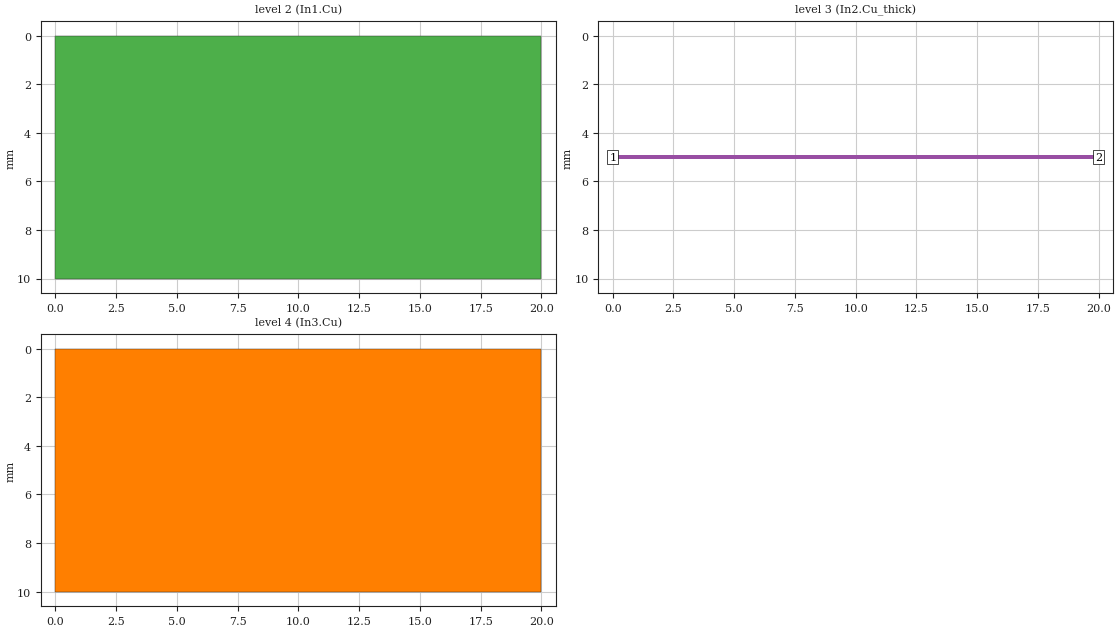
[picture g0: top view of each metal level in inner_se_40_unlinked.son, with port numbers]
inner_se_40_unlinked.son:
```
FTYP SONPROJ 19 ! Sonnet Project File
VER 18.52
HEADER
LIC antikernel2.1.51176
DAT 02/26/2022 12:04:15
BUILT_BY_CREATED xgeom 18.52 11/18/2021 20:28:07
BUILT_BY_SAVED sonnet 18.52
MDATE 02/26/2022 12:04:15
HDATE 02/26/2022 12:04:15
END HEADER
DIM
ANG DEG
CAP PF
CON /OH
FREQ GHZ
IND NH
LNG MM
RES OH
END DIM
CONTROL
VARSWP
OPTIONS  -dj
SPEED 0
CACHE_ABS 2
Q_ACC N
END CONTROL
GEO
SYM
TMET "Free Space" 0 FREESPACE 376.7303136 0 0 0
BMET "Free Space" 0 FREESPACE 376.7303136 0 0 0
MET "Copper_1oz_thin" 1 NOR 58000000 0.5 0.035 
MET "Copper_1oz_thick" 2 TMM 58000000 0.5 0.035 2
MET "Copper_1oz_thick_down" 3 TMM 58000000 0.5 0.035 2 CDVY TDWN
MET "Copper_0.5oz_thin" 4 NOR 58000000 0.5 0.017 
MET "Copper_0.5oz_thick" 12 TMM 58000000 0.5 0.017 2
MET "Copper_0.5oz_thick_down" 5 TMM 58000000 0.5 0.017 2 CDVY TDWN
BOX 10 20 10 4000 2000 20 0
      5 1 1 0 0 0 0 "Air"
      0.04 3.5 1 0.025 0 0 0 "Soldermask"
      0.075 3.9 1 0.008 0 0 0 "TU-872_SLK"
      0.1 3.9 1 0.008 0 0 0 "TU-872_SLK"
      0.143 3.9 1 0.008 0 0 0 "TU-872_SLK"
      0.7 4.49 1 0.016 0 0 0 "Shengyi_S1000-2M"
      0.143 3.9 1 0.008 0 0 0 "TU-872_SLK"
      0.1 3.9 1 0.008 0 0 0 "TU-872_SLK"
      0.075 3.9 1 0.008 0 0 0 "TU-872_SLK"
      0.04 3.5 1 0.025 0 0 0 "Soldermask"
      5 1 1 0 0 0 0 "Air"
TECHLAY METAL F.Cu_thin <UNSPECIFIED> -1 0 CAD F.Cu_thin drawing 
1 0 0 N 179 1 1 100 100 0 0 0 Y
END
END
TECHLAY METAL F.Cu_thick <UNSPECIFIED> -2 0 CAD F.Cu_thick drawing 
1 0 1 N 181 1 1 100 100 0 0 0 Y
END
END
TECHLAY VIA Via1 <UNSPECIFIED> -13 0 CAD Via1 drawing 
VIA POLYGON
1 0 -1 N 183 1 1 100 100 0 0 0 Y
TOLEVEL 8 RING NOCOVERS
END
END
TECHLAY METAL In1.Cu <UNSPECIFIED> -3 0 CAD In1.Cu drawing 
2 0 0 N 186 1 1 100 100 0 0 0 Y
END
END
TECHLAY METAL In2.Cu_thin <UNSPECIFIED> -4 0 CAD In2.Cu drawing 
3 0 3 N 189 1 1 100 100 0 0 0 Y
END
END
TECHLAY METAL In2.Cu_thick <UNSPECIFIED> -5 0 CAD In2.Cu_thick drawing 
3 0 4 N 191 1 1 100 100 0 0 0 Y
END
END
TECHLAY METAL In3.Cu <UNSPECIFIED> -6 0 CAD In3.Cu drawing 
4 0 0 N 196 1 1 100 100 0 0 0 Y
END
END
TECHLAY METAL In4.Cu <UNSPECIFIED> -7 0 CAD In4.Cu drawing 
5 0 0 N 201 1 1 100 100 0 0 0 Y
END
END
TECHLAY METAL In5.Cu_thin <UNSPECIFIED> -8 0 CAD In5.Cu drawing 
6 0 3 N 204 1 1 100 100 0 0 0 Y
END
END
TECHLAY METAL In5.Cu_thick <UNSPECIFIED> -9 0 CAD In5.Cu_thick drawing 
6 0 5 N 206 1 1 100 100 0 0 0 Y
END
END
TECHLAY METAL In6.Cu <UNSPECIFIED> -10 0 CAD In6.Cu drawing 
7 0 0 N 209 1 1 100 100 0 0 0 Y
END
END
TECHLAY METAL B.Cu_thin <UNSPECIFIED> -11 0 CAD B.Cu_thin drawing 
8 0 0 N 212 1 1 100 100 0 0 0 Y
END
END
TECHLAY METAL B.Cu_thick <UNSPECIFIED> -12 0 CAD B.Cu_thick drawing 
8 0 2 N 214 1 1 100 100 0 0 0 Y
END
END
VALVAR WIDTH LNG 0.165 "Dim. Param."
VALVAR CORE_ER NONE "table1(\"core_er.csv\",FREQ)" "Variable set in material file"
VALVAR CORE_DF NONE "table1(\"core_df.csv\",FREQ)" "Variable set in material file"
VALVAR PREPREG_DF NONE "table1(\"prepreg_df.csv\",FREQ)" "Variable set in material file"
VALVAR PREPREG_ER NONE "table1(\"prepreg_er.csv\",FREQ)" "Variable set in material file"
LORGN 0 10 U 
POR1 BOX
POLY 104 1
3
1 40 0 0 0 0 5 
POR1 BOX
POLY 104 1
1
2 40 0 0 0 20 5 
NUM 3
2 5 0 N 103 1 1 100 100 0 0 0 Y
TLAYNAM In1.Cu INH
0 0
20 0
20 10
0 10
0 0
END
3 5 4 N 104 1 1 100 100 0 0 0 Y
TLAYNAM In2.Cu_thick INH
0 4.9175
20 4.9175
20 5.0825
0 5.0825
0 4.9175
END
4 5 0 N 163 1 1 100 100 0 0 0 Y
TLAYNAM In3.Cu INH
0 0
20 0
20 10
0 10
0 0
END
END GEO
OPT
MAX 100
END OPT
VARSWP
ENABLED Y
FREQ Y AY ABS_ENTRY 0.001 16.0 -1 300 
VAR WIDTH Y 0.08 0.22 0.02
END
END VARSWP
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```
